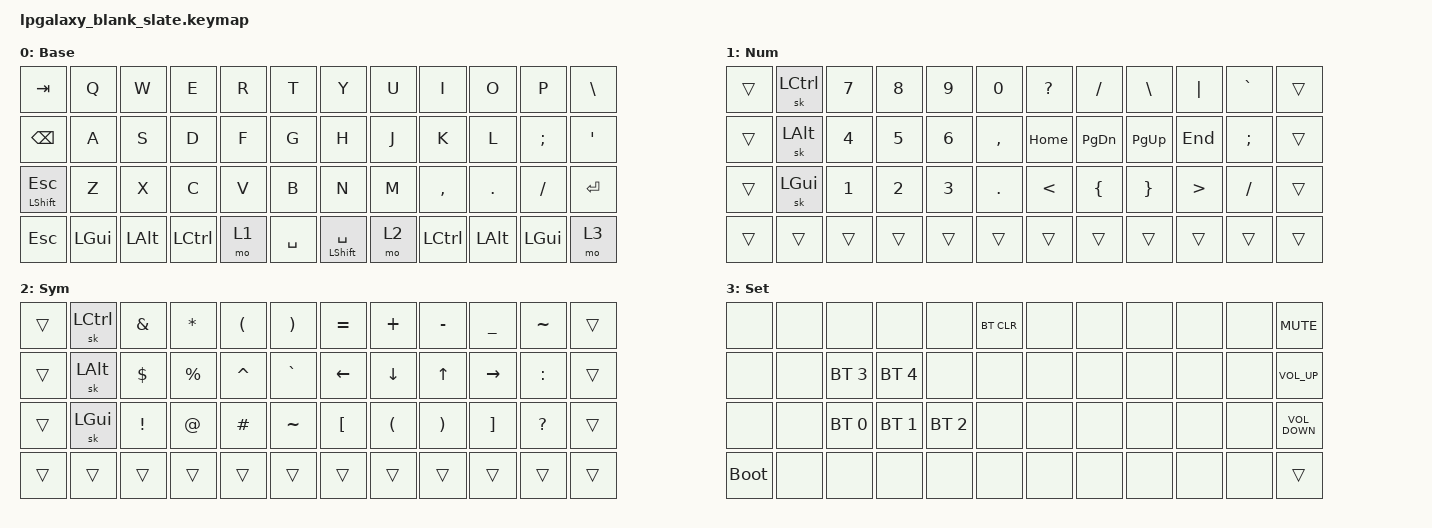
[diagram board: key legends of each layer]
/*
 * Copyright (c) 2022 Pete Johanson
 *
 * SPDX-License-Identifier: MIT
 */

#include <behaviors.dtsi>
#include <dt-bindings/zmk/keys.h>
#include <dt-bindings/zmk/bt.h>
#include <dt-bindings/zmk/outputs.h>


// Using layer taps on thumbs, having quick tap as well helps w/ repeating space/backspace
&lt { quick_tap_ms = <200>; };

/ {
    macros {
      ZMK_MACRO(thumbs_up,
		wait-ms = <1>;
		tap-ms = <5>;
                bindings = <&kp PLUS &kp COLON &kp PLUS &kp N1 &kp COLON &kp RET>;
		)
    };
    
    tap_dances {
    	shifty: shift_caps_word {
		compatible = "zmk,behavior-tap-dance";
		label = "TD_SHIFTY";
		#binding-cells = <0>;
		tapping-term-ms = <150>;
		bindings = <&kp LSHFT>, <&caps_word>;
	};
    };

    keymap {
        compatible = "zmk,keymap";

        base_layer {
            label = "Base";
            bindings = <
&kp TAB              &kp Q     &kp W         &kp E             &kp R  &kp T      &kp Y            &kp U  &kp I             &kp O         &kp P         &kp BACKSLASH
&kp BACKSPACE        &kp A     &kp S         &kp D             &kp F  &kp G      &kp H            &kp J  &kp K             &kp L         &kp SEMI      &kp SQT
&mt_tp LSHFT ESCAPE  &kp Z     &kp X         &kp C             &kp V  &kp B      &kp N            &kp M  &kp COMMA         &kp DOT       &kp FSLH      &kp ENTER
&kp ESCAPE           &kp LGUI  &kp LEFT_ALT  &kp LEFT_CONTROL  &mo 1  &kp SPACE  &mt LSHFT SPACE  &mo 2  &kp LEFT_CONTROL  &kp LEFT_ALT  &kp LEFT_GUI  &mo 3
            >;
        };

        number {
            label = "Num";
            bindings = <
&trans  &sk LEFT_CONTROL  &kp N7  &kp N8  &kp N9  &kp N0     &kp QUESTION   &kp FSLH        &kp BSLH         &kp PIPE          &kp GRAVE      &trans
&trans  &sk LALT          &kp N4  &kp N5  &kp N6  &kp COMMA  &kp HOME       &kp PG_DN       &kp PG_UP        &kp END           &kp SEMICOLON  &trans
&trans  &sk LGUI          &kp N1  &kp N2  &kp N3  &kp DOT    &kp LESS_THAN  &kp LEFT_BRACE  &kp RIGHT_BRACE  &kp GREATER_THAN  &kp SLASH      &trans
&trans  &trans            &trans  &trans  &trans  &trans     &trans         &trans          &trans           &trans            &trans         &trans
            >;
        };

        symbol {
            label = "Sym";
            bindings = <
&trans  &sk LEFT_CONTROL  &kp AMPERSAND    &kp ASTERISK &kp LEFT_PARENTHESIS  &kp RIGHT_PARENTHESIS  &kp EQUAL         &kp PLUS              &kp MINUS              &kp UNDERSCORE     &kp TILDE     &trans
&trans  &sk LEFT_ALT      &kp DOLLAR       &kp PERCENT  &kp CARET             &kp GRAVE              &kp LEFT          &kp DOWN              &kp UP_ARROW           &kp RIGHT          &kp COLON     &trans
&trans  &sk LEFT_GUI      &kp EXCLAMATION  &kp AT_SIGN  &kp HASH              &kp TILDE              &kp LEFT_BRACKET  &kp LEFT_PARENTHESIS  &kp RIGHT_PARENTHESIS  &kp RIGHT_BRACKET  &kp QUESTION  &trans
&trans  &trans            &trans           &trans       &trans                &trans                  &trans             &trans                &trans                 &trans             &trans        &trans
            >;
        };

        setup {
            label = "Set";
            bindings = <
&none        &none  &none         &none         &none         &bt BT_CLR  &none  &none  &none  &none  &none  &kp K_MUTE
&none        &none  &bt BT_SEL 3  &bt BT_SEL 4  &none         &none       &none  &none  &none  &none  &none  &kp K_VOLUME_UP
&none        &none  &bt BT_SEL 0  &bt BT_SEL 1  &bt BT_SEL 2  &none       &none  &none  &none  &none  &none  &kp K_VOLUME_DOWN
&bootloader  &none  &none         &none         &none         &none       &none  &none  &none  &none  &none  &trans
            >;
        };
    };
};

